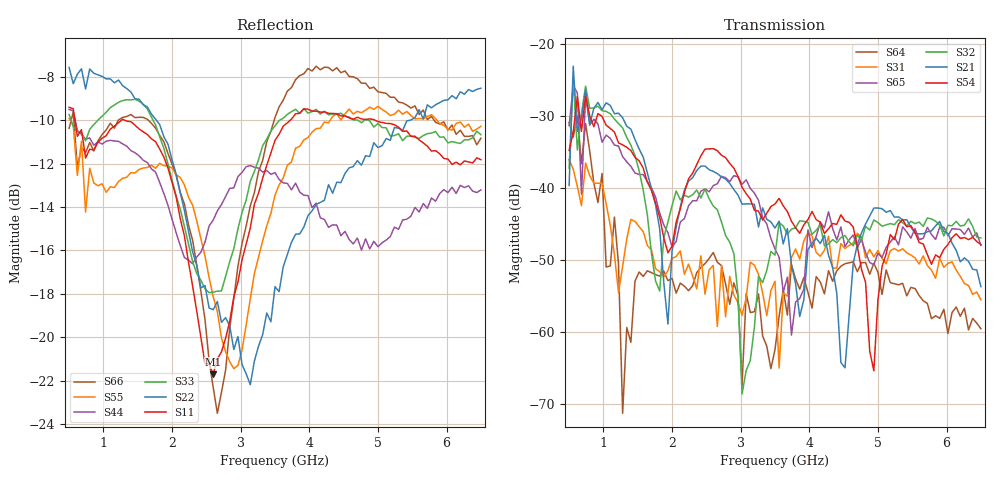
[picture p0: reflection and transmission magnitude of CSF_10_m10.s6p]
!Keysight Technologies,M9804A,MY58100912,A.14.10.03
!Date: Thursday, April 27, 2023 10:28:33
!Correction: S11(C  6-Port  )
!S12(C  6-Port  )
!S13(C  6-Port  )
!S14(C  6-Port  )
!S15(C  6-Port  )
!S16(C  6-Port  )
!S21(C  6-Port  )
!S22(C  6-Port  )
!S23(C  6-Port  )
!S24(C  6-Port  )
!S25(C  6-Port  )
!S26(C  6-Port  )
!S31(C  6-Port  )
!S32(C  6-Port  )
!S33(C  6-Port  )
!S34(C  6-Port  )
!S35(C  6-Port  )
!S36(C  6-Port  )
!S41(C  6-Port  )
!S42(C  6-Port  )
!S43(C  6-Port  )
!S44(C  6-Port  )
!S45(C  6-Port  )
!S46(C  6-Port  )
!S51(C  6-Port  )
!S52(C  6-Port  )
!S53(C  6-Port  )
!S54(C  6-Port  )
!S55(C  6-Port  )
!S56(C  6-Port  )
!S61(C  6-Port  )
!S62(C  6-Port  )
!S63(C  6-Port  )
!S64(C  6-Port  )
!S65(C  6-Port  )
!S66(C  6-Port  )
!S6P File: Measurement: :
# Hz S  RI  R 50
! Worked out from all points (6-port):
!   101 points, 500 MHz to 6.5 GHz, reference 50 ohm
!   strongest paths, dB at 500 MHz, 2 GHz, 3.5 GHz, 5 GHz, 6.5 GHz:
!     S54: -34.8, -48.1, -42.2, -55.6, -47.9
!     S21: -39.7, -48.8, -45.6, -42.8, -53.7
!     S32: -37.2, -42.5, -49.3, -44.8, -47.0
!     S65: -31.3, -48.2, -48.5, -49.1, -48.0
!     S31: -36.1, -49.8, -53.0, -48.7, -55.6
!     S64: -30.9, -52.6, -62.5, -51.7, -59.6
!   lowest |S11| = -21.7 dB at 2.6 GHz (marker M1), VSWR 1.18, Z = 42.7 + j1.96 ohm
!   |S11| at or under -10 dB: 584.9 MHz to 1.264 GHz (679.5 MHz wide, 73.5 % of centre); 1.308 GHz to 3.722 GHz (2.414 GHz wide, 96 % of centre); 4.957 GHz to end of sweep
